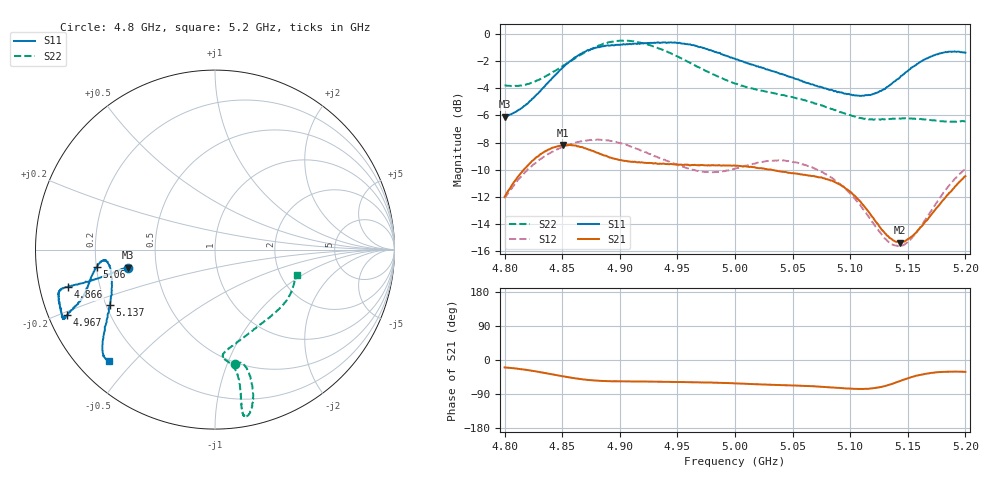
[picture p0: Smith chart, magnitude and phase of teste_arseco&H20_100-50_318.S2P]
! Network Analyzer HP8722D
! Hewlett-Packard
! Data name: Linha & Wilkinson
! Saver's name: Rodrigo Anjos
! Comments: Teste da utilização de aquisição
! continua pelo VNA HP8722D
! Time and date: 6/5/2025 15:13
!  Frequency  S11  S21  S12  S22
# HZ  S  MA R 50
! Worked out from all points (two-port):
!   401 points, 4.8 GHz to 5.2 GHz, reference 50 ohm
!   highest |S21| = -8.17 dB at 4.851 GHz (marker M1); lowest = -15.3 dB at 5.143 GHz (marker M2)
!   |S21| within 3 dB of the highest: 4.806 GHz to 5.093 GHz (286.6 MHz wide, 5.79 % of centre); 5.191686 GHz to end of sweep
!   lowest |S11| = -6.1 dB at 4.8 GHz (marker M3), VSWR 2.97, Z = 17 - j4.56 ohm
!   |S11| at or under -10 dB: nowhere
!   |S22| runs from -6.5 to -0.5 dB; largest |S21 - S12| = 0.62
!   S11 on the Smith chart (normalised r, x): 4.8 GHz: 0.34, -0.09; 4.866 GHz: 0.09, -0.12; 4.967 GHz: 0.05, -0.21; 5.06 GHz: 0.20, -0.07; 5.137 GHz: 0.22, -0.24; 5.2 GHz: 0.09, -0.43
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4.8e9  0.4964 -168.2  0.2514 -19.6  0.2485 -140.9  0.6474 -80.3
4.823e9  0.5704 -167.5  0.3378 -28.0  0.3248 -143.8  0.6602 -76.0
4.851e9  0.7556 -165.8  0.3904 -43.3  0.3839 -149.2  0.765 -74.5
4.866e9  0.8442 -165.8  0.3837 -50.3  0.4025 -151.8  0.8378 -75.2
4.867e9  0.847 -165.8  0.3835 -50.8  0.4027 -151.9  0.8423 -75.4
4.883e9  0.8955 -165.1  0.3616 -55.0  0.408 -154.6  0.9095 -77.2
4.899e9  0.9119 -162.9  0.3442 -56.6  0.3978 -156.7  0.9426 -79.0
4.934e9  0.9286 -156.3  0.3328 -57.5  0.3507 -155.5  0.8829 -80.4
4.967e9  0.9015 -156.1  0.3289 -58.8  0.3133 -147.9  0.7583 -79.7
5e9  0.8092 -159.0  0.3274 -61.8  0.3198 -137.2  0.6562 -81.2
5.035e9  0.7245 -165.1  0.3142 -65.7  0.3423 -134.3  0.6043 -85.5
5.06e9  0.6665 -171.6  0.3034 -68.2  0.3302 -136.1  0.571 -84.2
5.067e9  0.6525 -173.0  0.3003 -68.9  0.323 -136.6  0.5596 -82.6
5.087e9  0.6174 -174.5  0.2846 -73.0  0.2889 -138.5  0.525 -74.8
5.103e9  0.5961 -171.3  0.2556 -76.1  0.2503 -138.7  0.4981 -65.3
5.117e9  0.5958 -164.8  0.2189 -75.4  0.2097 -135.0  0.4849 -55.2
5.134e9  0.646 -154.3  0.1781 -65.2  0.1708 -120.8  0.4865 -43.4
5.137e9  0.6602 -152.3  0.1743 -62.3  0.1679 -117.0  0.4881 -41.4
5.143e9  0.6909 -149.3  0.1709 -55.7  0.1659 -109.0  0.4883 -38.0
5.154e9  0.7544 -144.4  0.1805 -44.5  0.1788 -94.9  0.4879 -32.4
5.173e9  0.8343 -138.8  0.2237 -33.3  0.2326 -80.7  0.481 -24.3
5.2e9  0.8533 -133.5  0.2997 -31.3  0.3191 -76.9  0.4766 -17.6
